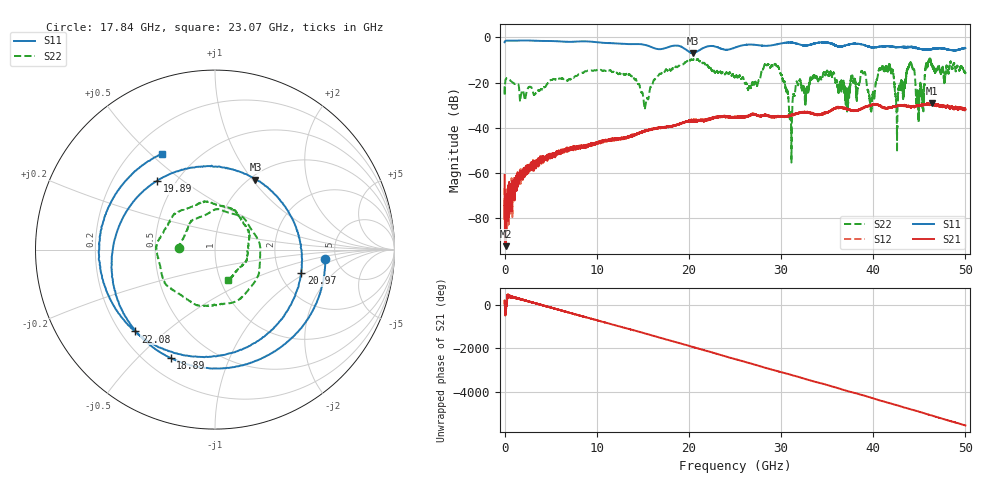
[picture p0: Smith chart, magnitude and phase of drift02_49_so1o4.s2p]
!Created with skrf (http://scikit-rf.org).
# Hz S RI R 50.0
!freq ReS11 ImS11 ReS21 ImS21 ReS12 ImS12 ReS22 ImS22
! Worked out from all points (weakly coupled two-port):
!   10001 points, 300 kHz to 50 GHz, reference 50 ohm
!   highest |S21| = -29.16 dB at 46.39 GHz (marker M1); lowest = -92.3 dB at 150.3 MHz (marker M2)
!   lowest |S11| = -6.9 dB at 20.4 GHz (marker M3), VSWR 2.64, Z = 52.9 + j51.8 ohm
!   |S11| at or under -10 dB: nowhere
!   |S22| runs from -55.4 to -9.4 dB; largest |S21 - S12| = 0.0033
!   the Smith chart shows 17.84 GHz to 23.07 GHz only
!   S11 on the Smith chart (normalised r, x): 17.84 GHz: 4.09, -0.71; 18.89 GHz: 0.30, -0.63; 19.89 GHz: 0.39, +0.40; 20.97 GHz: 2.62, -0.92; 22.08 GHz: 0.26, -0.40; 23.07 GHz: 0.32, +0.55
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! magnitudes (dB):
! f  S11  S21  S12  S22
! 300 kHz  -2.1  -60.8  -66.7  -21.6
! 150.3 MHz  -1.5  -92.3  -71.7  -18.2
! 8.335 GHz  -1.7  -48.5  -48.9  -15.7
! 15.33 GHz  -3.4  -41.4  -41.3  -29.1
! 16.67 GHz  -5.2  -40.0  -39.9  -17.0
! 17.84 GHz  -4.2  -39.5  -39.5  -13.9
! 18.89 GHz  -3.7  -38.3  -38.5  -12.5
! 19.89 GHz  -6.0  -37.1  -37.0  -10.2
! 20.4 GHz  -6.9  -37.3  -36.6  -10.0
! 20.97 GHz  -6.0  -37.0  -36.6  -9.7
! 22.08 GHz  -3.9  -36.3  -36.2  -12.8
! 23.07 GHz  -4.3  -35.3  -35.2  -14.8
! 25 GHz  -4.5  -35.4  -35.4  -17.6
! 29.51 GHz  -3.1  -34.9  -35.2  -12.5
! 31.03 GHz  -2.3  -34.5  -34.7  -36.1
! 33.34 GHz  -3.0  -33.7  -33.5  -18.2
! 38.92 GHz  -3.2  -31.0  -31.0  -16.3
! 39.85 GHz  -4.4  -29.9  -29.9  -28.6
! 41.67 GHz  -3.9  -31.0  -31.1  -13.1
! 42.56 GHz  -4.3  -30.4  -30.2  -37.1
! 46.39 GHz  -5.2  -29.2  -29.2  -12.3
! 50 GHz  -4.7  -31.9  -31.7  -15.8
